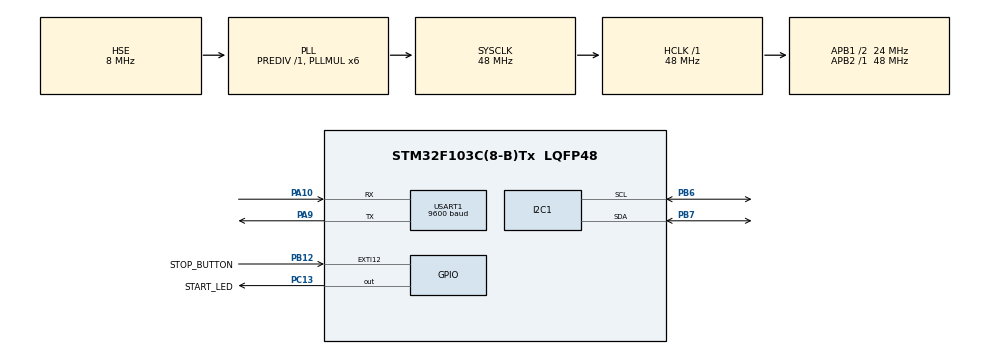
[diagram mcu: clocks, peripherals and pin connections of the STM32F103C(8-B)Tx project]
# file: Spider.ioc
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Dma.Request0=USART1_RX
Dma.Request1=USART1_TX
Dma.USART1_RX.0.Direction=DMA_PERIPH_TO_MEMORY
Dma.USART1_RX.0.Instance=DMA1_Channel5
Dma.USART1_RX.0.MemDataAlignment=DMA_MDATAALIGN_BYTE
Dma.USART1_RX.0.MemInc=DMA_MINC_ENABLE
Dma.USART1_RX.0.Mode=DMA_CIRCULAR
Dma.USART1_RX.0.PeriphDataAlignment=DMA_PDATAALIGN_BYTE
Dma.USART1_RX.0.PeriphInc=DMA_PINC_DISABLE
Dma.USART1_RX.0.Priority=DMA_PRIORITY_LOW
Dma.USART1_TX.1.Direction=DMA_MEMORY_TO_PERIPH
Dma.USART1_TX.1.Instance=DMA1_Channel4
Dma.USART1_TX.1.MemDataAlignment=DMA_MDATAALIGN_BYTE
Dma.USART1_TX.1.MemInc=DMA_MINC_ENABLE
Dma.USART1_TX.1.Mode=DMA_NORMAL
Dma.USART1_TX.1.PeriphDataAlignment=DMA_PDATAALIGN_BYTE
Dma.USART1_TX.1.PeriphInc=DMA_PINC_DISABLE
Dma.USART1_TX.1.Priority=DMA_PRIORITY_LOW
Mcu.Family=STM32F1
Mcu.Name=STM32F103C(8-B)Tx
Mcu.Package=LQFP48
NVIC.DMA1_Channel4_IRQn=true\:0\:0\:false\:false\:true\:false\:true
NVIC.DMA1_Channel5_IRQn=true\:0\:0\:false\:false\:true\:false\:true
NVIC.EXTI15_10_IRQn=true\:0\:0\:false\:false\:true\:true\:true
NVIC.I2C1_ER_IRQn=true\:0\:0\:false\:true\:true\:2\:true\:true
NVIC.PriorityGroup=NVIC_PRIORITYGROUP_4
NVIC.TIM2_IRQn=true\:0\:0\:false\:false\:true\:true\:true
NVIC.TIM3_IRQn=true\:0\:0\:false\:false\:true\:true\:true
NVIC.USART1_IRQn=true\:0\:0\:false\:true\:true\:1\:true\:true
PA10.Mode=Asynchronous
PA10.Signal=USART1_RX
PA13.Mode=Serial_Wire
PA13.Signal=SYS_JTMS-SWDIO
PA14.Mode=Serial_Wire
PA14.Signal=SYS_JTCK-SWCLK
PA9.Mode=Asynchronous
PA9.Signal=USART1_TX
PB12.GPIO_Label=STOP_BUTTON
PB12.Signal=GPXTI12
PB6.Mode=I2C
PB6.Signal=I2C1_SCL
PB7.Mode=I2C
PB7.Signal=I2C1_SDA
PC13-TAMPER-RTC.GPIO_Label=START_LED
PC13-TAMPER-RTC.GPIO_PuPd=GPIO_PULLDOWN
PC13-TAMPER-RTC.Signal=GPIO_Output
PC14-OSC32_IN.Mode=LSE-External-Oscillator
PC14-OSC32_IN.Signal=RCC_OSC32_IN
PC15-OSC32_OUT.Mode=LSE-External-Oscillator
PC15-OSC32_OUT.Signal=RCC_OSC32_OUT
PD0-OSC_IN.Mode=HSE-External-Oscillator
PD0-OSC_IN.Signal=RCC_OSC_IN
PD1-OSC_OUT.Mode=HSE-External-Oscillator
PD1-OSC_OUT.Signal=RCC_OSC_OUT
ProjectManager.HeapSize=0x200
ProjectManager.StackSize=0x400
ProjectManager.TargetToolchain=STM32CubeIDE
RCC.AHBFreq_Value=48000000
RCC.APB1CLKDivider=RCC_HCLK_DIV2
RCC.APB1Freq_Value=24000000
RCC.APB1TimFreq_Value=48000000
RCC.APB2Freq_Value=48000000
RCC.APB2TimFreq_Value=48000000
RCC.HCLKFreq_Value=48000000
RCC.PLLMUL=RCC_PLL_MUL6
RCC.PLLSourceVirtual=RCC_PLLSOURCE_HSE
RCC.SYSCLKFreq_VALUE=48000000
RCC.SYSCLKSource=RCC_SYSCLKSOURCE_PLLCLK
RCC.USBFreq_Value=48000000
TIM2.Channel-Output\ Compare1\ No\ Output=TIM_CHANNEL_1
TIM2.Period=60000
TIM2.Prescaler=8799
TIM3.Channel-Output\ Compare1\ No\ Output=TIM_CHANNEL_1
TIM3.Period=5000
TIM3.Prescaler=9599
USART1.BaudRate=9600
USART1.VirtualMode=VM_ASYNC
VP_TIM2_VS_ClockSourceINT.Mode=Internal
VP_TIM2_VS_no_output1.Mode=Output Compare1 No Output
VP_TIM3_VS_ClockSourceINT.Mode=Internal
VP_TIM3_VS_no_output1.Mode=Output Compare1 No Output
board=custom

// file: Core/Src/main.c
/* USER CODE BEGIN Header */
/**
  ******************************************************************************
  * @file           : main.c
  * @brief          : Main program body
  ******************************************************************************
  * @attention
  *
  * <h2><center>&copy; Copyright (c) 2020 STMicroelectronics.
  * All rights reserved.</center></h2>
  *
  * This software component is licensed by ST under BSD 3-Clause license,
  * the "License"; You may not use this file except in compliance with the
  * License. You may obtain a copy of the License at:
  *                        opensource.org/licenses/BSD-3-Clause
  *
  ******************************************************************************
  */
/* USER CODE END Header */
#include "main.h"
#include "dma.h"
#include "i2c.h"
#include "tim.h"
#include "usart.h"
#include "gpio.h"

/* USER CODE BEGIN Includes */
#include "pca9685.h"
//#include "uart_dma.h"
#include "spider.h"
/* USER CODE END Includes */

/* USER CODE BEGIN PD */
#define MAX_STRLEN	40
#define RX_BFR_SIZE	10
#define UARTn		1

//UARTDMA_HandleTypeDef huartdma;
/* USER CODE END PD */

/* USER CODE BEGIN PV */
/* Spider Configuration */
float refPos[4][3] = \
	{{58.33, 58.33, -77.5},{58.33, 58.33, -77.5},{0, 82.5, -77.5},{0, 82.5, -77.5}};

uint16_t anglePos[SERVO_COUNT]; //	Initialized to 0

typedef enum {Ref, NoRef}refVar;
typedef enum
{
	HOME,
	WALKING_FORWARD,
	WALKING_BACKWARD,
	WALKING_LEFT,
	WALKING_RIGHT,
	TURNING_RIGHT,
	TURNING_LEFT,
	MOVING_LEG,
	MOVING_JOINT,
	SIT,
	STAND,
	STILL
}spiderState;

typedef enum {Manual, Auto}spiderMode;

refVar REF;
spiderState state;

/* UART Related Variables */
char USART_TxStream[MAX_STRLEN];
uint8_t USART_RxStream[RX_BFR_SIZE];

uint8_t RxRollover = 0;
uint8_t RxCounter = 0;
uint8_t RxBfrPos = 0;

char command[MAX_STRLEN];
uint8_t flagRx = 0; uint8_t indRx = 0;
int count = 0;
/* USER CODE END PV */

void SystemClock_Config(void);
static void MX_NVIC_Init(void);

int main(void)
{
  /* USER CODE BEGIN 1 */
	REF = NoRef;
	state = STILL;
  /* USER CODE END 1 */

  /* MCU Configuration--------------------------------------------------------*/

  /* Reset of all peripherals, Initializes the Flash interface and the Systick. */
  HAL_Init();

  /* Configure the system clock */
  SystemClock_Config();

  /* Initialize all configured peripherals */
  MX_GPIO_Init();
  MX_DMA_Init();
  MX_I2C1_Init();
  MX_USART1_UART_Init();
  MX_TIM2_Init();
  MX_TIM3_Init();

  /* Initialize interrupts */
  MX_NVIC_Init();
  /* USER CODE BEGIN 2 */
//  UARTDMA_Init(&huartdma, &huart1);
  PCA9685_Init(&hi2c1);

  sprintf(USART_TxStream, "SPIDER ROBOT v1.2\n\r");

//  HAL_UART_Transmit(&huart1, (uint8_t*) USART_TxStream, (sizeof(USART_TxStream)-1), 100);
  HAL_UART_Transmit_DMA(&huart1, (uint8_t*) USART_TxStream, (uint16_t)(sizeof(USART_TxStream)-1));
  __HAL_UART_ENABLE_IT(&huart1, UART_IT_IDLE);
  HAL_UART_Receive_DMA(&huart1, USART_RxStream, RX_BFR_SIZE);

  // Start Timer 2 andTimer3
  HAL_TIM_Base_Start_IT(&htim2);
  HAL_TIM_Base_Start_IT(&htim3);
  /* USER CODE END 2 */

  /* Infinite loop */
  /* USER CODE BEGIN WHILE */
  while (1)
  {
	  if (REF == Ref)
	  {
		  switch (state)
		  {
		  case WALKING_FORWARD:
			  forward_walk();
			  break;
		  case WALKING_BACKWARD:
			  backward_walk();
			  break;
		  case WALKING_RIGHT:
			  right_walk();
			  break;
		  case WALKING_LEFT:
			  left_walk();
			  break;
		  case TURNING_RIGHT:
			  turn_right();
			  break;
		  case TURNING_LEFT:
			  turn_left();
			  break;
		  case SIT:
			  sit();
			  break;
		  case STAND:
			  stand();
			  REF = NoRef;
			  break;
		  default:
			  break;
		  }
	  }
	  else
	  {
		  // Force Homing
		  homing(refPos);
		  state = HOME;
		  REF = Ref;
	  }
    /* USER CODE END WHILE */

  }
}

void SystemClock_Config(void)
{
  RCC_OscInitTypeDef RCC_OscInitStruct = {0};
  RCC_ClkInitTypeDef RCC_ClkInitStruct = {0};

  /** Initializes the RCC Oscillators according to the specified parameters
  * in the RCC_OscInitTypeDef structure.
  */
  RCC_OscInitStruct.OscillatorType = RCC_OSCILLATORTYPE_HSE;
  RCC_OscInitStruct.HSEState = RCC_HSE_ON;
  RCC_OscInitStruct.HSEPredivValue = RCC_HSE_PREDIV_DIV1;
  RCC_OscInitStruct.HSIState = RCC_HSI_ON;
  RCC_OscInitStruct.PLL.PLLState = RCC_PLL_ON;
  RCC_OscInitStruct.PLL.PLLSource = RCC_PLLSOURCE_HSE;
  RCC_OscInitStruct.PLL.PLLMUL = RCC_PLL_MUL6;
  if (HAL_RCC_OscConfig(&RCC_OscInitStruct) != HAL_OK)
  {
    Error_Handler();
  }
  /** Initializes the CPU, AHB and APB buses clocks
  */
  RCC_ClkInitStruct.ClockType = RCC_CLOCKTYPE_HCLK|RCC_CLOCKTYPE_SYSCLK
                              |RCC_CLOCKTYPE_PCLK1|RCC_CLOCKTYPE_PCLK2;
  RCC_ClkInitStruct.SYSCLKSource = RCC_SYSCLKSOURCE_PLLCLK;
  RCC_ClkInitStruct.AHBCLKDivider = RCC_SYSCLK_DIV1;
  RCC_ClkInitStruct.APB1CLKDivider = RCC_HCLK_DIV2;
  RCC_ClkInitStruct.APB2CLKDivider = RCC_HCLK_DIV1;

  if (HAL_RCC_ClockConfig(&RCC_ClkInitStruct, FLASH_LATENCY_1) != HAL_OK)
  {
    Error_Handler();
  }
}

/**
  * @brief NVIC Configuration.
  * @retval None
  */
static void MX_NVIC_Init(void)
{
  /* USART1_IRQn interrupt configuration */
  HAL_NVIC_SetPriority(USART1_IRQn, 0, 0);
  HAL_NVIC_EnableIRQ(USART1_IRQn);
  /* I2C1_ER_IRQn interrupt configuration */
  HAL_NVIC_SetPriority(I2C1_ER_IRQn, 0, 0);
  HAL_NVIC_EnableIRQ(I2C1_ER_IRQn);
}

/* USER CODE BEGIN 4 */
//	Utility Functions
void getState(spiderState currState)
{
	const char sTable[][MAX_STRLEN] = {
			"HOME",
			"WALKING_FORWARD",
			"WALKING_BACKWARD",
			"WALKING_LEFT",
			"WALKING_RIGHT",
			"TURNING_RIGHT",
			"TURNING_LEFT",
			"MOVING_LEG",
			"MOVING_JOINT",
			"SIT",
			"STAND",
			"STILL"
	};
	memset(&USART_TxStream[0], 0, sizeof(USART_TxStream));
	sprintf(USART_TxStream, "Current State: %s\n\r", sTable[currState]);
	HAL_UART_Transmit_DMA(&huart1, (uint8_t*) USART_TxStream, (uint16_t)(sizeof(USART_TxStream)-1));
}

//	Command Interpretation function
void InterpretCmd()
{
	uint8_t value8 = 0;
	uint16_t value16 = 0;

	switch (command[0])
	{
		case 'W':
			//	Walk Mode
			//	Initialize timer 2 to stop movement after a period of 5s.
//			HAL_TIM_Base_Start_IT(&htim2);
//			htim2.Instance->CNT = 0;
			resetTimer(&htim2);
			switch (command[1])
			{
				case 'F':
					//	Move Forwards
					state = WALKING_FORWARD;
					//	Complete
					break;
				case 'B':
					//	Move Bacjwards
					state = WALKING_BACKWARD;
					//	Complete
					break;
				case 'R':
					//	Move Right
					state = WALKING_RIGHT;
					//	Complete
					break;
				case 'L':
					//	Move Left
					state = WALKING_LEFT;
					//	Complete
					break;
				default:
					break;
			}
			break;
		case 'T':
			resetTimer(&htim2);
			switch (command[1])
			{
				case 'R':
					//	Turn Right
					state = TURNING_RIGHT;
					//	Complete
					break;
				case 'L':
					//	Turn Left
					state = TURNING_LEFT;
					//	Complete
					break;
				default:
					break;
			}
			break;
		case 'H':
			switch (command[1])
			{
				case 'O':
					REF = NoRef;
					break;
				case 'A':
					//	Stop or Halt Command
					stop();
					state = STILL;
					break;
				default:
					break;
			}
			break;
		case 'S':
			switch (command[1])
			{
				case 'T':
					state = STAND;
					break;
				case 'I':
					state = SIT;
					break;
				default:
					//	Servo Control Mode
					//	:S#P###
					//	# -> Servo number
					//	### -> Angle
					state = MOVING_JOINT;
					if (command[1])
					{
						value8 = atoi(&command[1]);
					}
					if (command[2] == 'P' && command[3])
					{
						value16 = atoi(&command[3]);
					}
					else if (command[3] == 'P' && command[4])
					{
						value16 = atoi(&command[4]);
					}
					servoControl(anglePos, value8, value16);
					break;
			}
			break;
		case 'L':
			//	Leg Control MOde
			//	:L#*
			// * -> U: Up, D: Down, R: Right, L: Left
			state = MOVING_LEG;
			char movement;
			if (command[1] && command[2] && command[3])
			{
				value8 = atoi(&command[1]);
				movement = command[2];
				value16 = atoi(&command[3]);
				legControl(anglePos, value8, movement, value16);
			}
			break;
		case '?':
			//	Print Position Information
			// Get Position of each leg
			printPosition();
			break;
		case '!':
			// Get State
			getState(state);
			break;
		default:
			break;
	}
}

//	Interruptions
void HAL_UART_RxCpltCallback(UART_HandleTypeDef *huart)
{
	if(__HAL_UART_GET_FLAG(huart, UART_FLAG_IDLE))
	{
		__HAL_UART_CLEAR_IDLEFLAG(&huart1);
		RxCounter++;

		uint16_t start = RxBfrPos;
		RxBfrPos = RX_BFR_SIZE - (uint16_t)huart->hdmarx->Instance->CNDTR;
		uint16_t len = RX_BFR_SIZE;

		if (RxRollover < 2)
		{
			if (RxRollover)
			{
				if (RxBfrPos <= start) len = RxBfrPos + RX_BFR_SIZE - start;
				else len = RX_BFR_SIZE + 1;
			}
			else
			{
				len = RxBfrPos - start;
			}
		}
		else
		{
			len = RX_BFR_SIZE + 2;
		}

		int i;
		char data[len];
		memcpy(data, &USART_RxStream[start], len);

		for (i = 0; i < len; i++)
		{
			switch (data[i])
			{
				case ':':
					indRx = 0;
					flagRx = 1;
					break;
				case '\r':
				case ';':
					if (flagRx)
					{
						flagRx = 0;
						command[indRx] = 0;
						InterpretCmd();
					}
					break;
				default:
					if (flagRx)
					{
						command[indRx] = data[i];
						if (indRx < MAX_STRLEN - 1) indRx++;
					}
					break;
			}
		}

		RxRollover = 0;
	}
	else
	{
		RxRollover++;
	}
}

void HAL_TIM_PeriodElapsedCallback(TIM_HandleTypeDef *htim)
{
	if (htim == &htim2)
	{
		if (state != HOME && state != STILL && state != MOVING_JOINT && state != MOVING_LEG)
		{
			stop();
			state = STILL;

		}
	}
	else if (htim == &htim3)
	{
		if (state != STILL && state != HOME)
		{
			HAL_GPIO_TogglePin(START_LED_GPIO_Port, START_LED_Pin);
		}
		else
		{
			HAL_GPIO_WritePin(START_LED_GPIO_Port, START_LED_Pin, GPIO_PIN_RESET);
		}
	}
}

void HAL_GPIO_EXTI_Callback(uint16_t GPIO_Pin)
{
	stop();
	state = STILL;
	homing(refPos);
	state = HOME;
}
/* USER CODE END 4 */

void Error_Handler(void)
{
}

/************************ (C) COPYRIGHT STMicroelectronics *****END OF FILE****/
